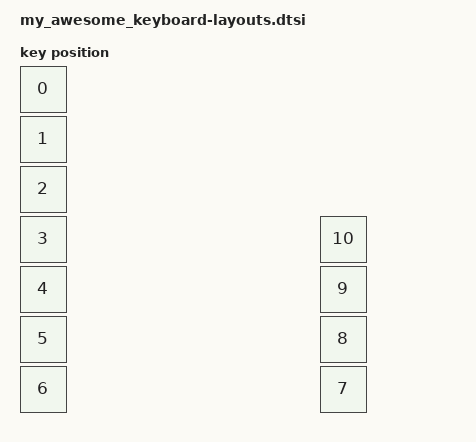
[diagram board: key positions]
/*
* Copyright (c) 2025 The ZMK Contributors
*
* SPDX-License-Identifier: MIT
*/

#include <physical_layouts.dtsi>


/ {
	physical_layout0: physical_layout_0 {
		compatible = "zmk,physical-layout";
		display-name = "Layout";
		keys//                     w   h    x    y    rot   rx   ry
		= <&key_physical_attrs 100 100    0    0      0    0    0>
		, <&key_physical_attrs 100 100    0  100      0    0    0>
		, <&key_physical_attrs 100 100    0  200      0    0    0>
		, <&key_physical_attrs 100 100    0  300      0    0    0>
		, <&key_physical_attrs 100 100    0  400      0    0    0>
		, <&key_physical_attrs 100 100    0  500      0    0    0>
		, <&key_physical_attrs 100 100    0  600      0    0    0>
		, <&key_physical_attrs 100 100  600  600      0    0    0>
		, <&key_physical_attrs 100 100  600  500      0    0    0>
		, <&key_physical_attrs 100 100  600  400      0    0    0>
		, <&key_physical_attrs 100 100  600  300      0    0    0>
		;
	};
};
